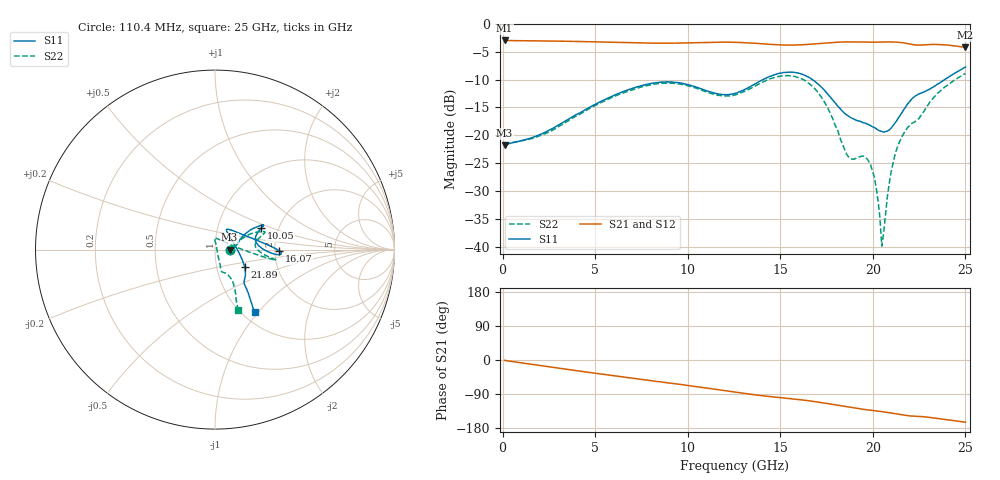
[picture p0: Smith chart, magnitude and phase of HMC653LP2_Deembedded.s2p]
! Hittite Microwave Corporation
! 2 Elizabeth Drive
! Chelmsford, MA 01824
! http://www.hittite.com
! Tel: 978-250-3343
! Fax: 978-250-3373
! Device:  HMC653LP2
! Description: 3 dB Wideband Fixed Attenuator
! Frequency:  DC - 25.00 GHz
! Package:  LP2  - 2x2 mm Dual Flatpack No-Lead (QFN) Plastic Package:  6 pin
! Ports:  2
!  Pin 1 = Ground
!  Pin 2 = RF1  = Port 1
!  Pin 3 = Ground
!  Pin 4 = Ground
!  Pin 5 = RF2  = Port 2
!  Pin 6 = Ground
! Data:  The device was measured on evaluation board 119194-1.
!  Data was collected using an calibrated network analyzer.
!  The evaluation circuit board was modeled and simulated.  This was use
!  to removed the evaluation board circuit from the measured data.
!  The reference plane is the center (edge) of the package pin.
! Misc:
! Date Measured:  2012-04-18
! Date:  2012-04-21 MJV
! Note:
!  Hittite supplies this data as a sample of measured data at the package pin for
!  for this package product.  Your particular data for this product may vary.
!  Data was taken at 25 degrees C.
!  Hittite reserves the right to change this data at anytime.
# GHz S DB R 50
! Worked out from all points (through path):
!   249 points, 110.4 MHz to 25 GHz, reference 50 ohm
!   highest |S21| = -2.95 dB at 110.4 MHz (marker M1); lowest = -4.2 dB at 25 GHz (marker M2)
!   group delay of S21, straight-line fit = 18.1 ps
!   lowest |S11| = -21.8 dB at 110.4 MHz (marker M3), VSWR 1.18, Z = 58.8 - j0.00151 ohm
!   |S11| at or under -10 dB: start of sweep to 14.06 GHz; 16.74 GHz to 23.87 GHz (7.131 GHz wide, 35.1 % of centre)
!   |S22| runs from -39.9 to -8.9 dB; largest |S21 - S12| = 0.0011
!   S11 on the Smith chart (normalised r, x): 110.4 MHz: 1.18, -0.00; 10.05 GHz: 1.63, +0.43; 16.07 GHz: 2.12, -0.04; 21.89 GHz: 1.37, -0.28; 25 GHz: 1.14, -0.95
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0.11036  -21.80 -0.0  -2.95 -1.0  -2.96 -1.0  -21.72 -0.2
2.41867  -19.27 6.6  -3.05 -17.3  -3.05 -17.3  -19.55 5.0
4.32554  -15.68 24.5  -3.16 -30.4  -3.16 -30.4  -15.90 21.6
8.44036  -10.47 27.4  -3.45 -57.2  -3.45 -57.2  -10.71 20.3
10.04614  -10.91 24.9  -3.39 -67.4  -3.39 -67.4  -11.14 17.4
12.55518  -12.46 7.2  -3.29 -84.9  -3.29 -84.9  -12.74 1.7
14.86349  -8.92 -4.5  -3.73 -98.7  -3.73 -98.7  -9.46 -9.5
16.06783  -8.91 -1.2  -3.75 -104.8  -3.75 -104.8  -9.73 -9.6
16.77036  -10.06 3.2  -3.60 -109.1  -3.60 -109.1  -11.29 -8.4
17.57325  -12.59 13.3  -3.37 -115.2  -3.38 -115.2  -15.14 -2.3
18.67723  -16.53 43.4  -3.21 -124.2  -3.22 -124.3  -23.85 46.6
19.48012  -17.75 60.1  -3.23 -130.1  -3.23 -130.1  -23.74 91.3
19.88157  -18.28 57.6  -3.26 -132.6  -3.26 -132.7  -25.34 91.0
20.08229  -18.60 53.3  -3.26 -133.7  -3.27 -133.8  -27.54 86.7
20.28301  -19.07 46.0  -3.25 -134.9  -3.26 -135.0  -31.74 74.5
20.38337  -19.21 41.5  -3.25 -135.6  -3.25 -135.6  -34.86 58.0
20.48373  -19.31 37.1  -3.24 -136.2  -3.24 -136.3  -39.93 28.0
20.88518  -19.04 13.7  -3.21 -139.1  -3.21 -139.2  -28.69 -64.4
21.28663  -17.40 -7.8  -3.26 -142.4  -3.26 -142.4  -22.54 -70.4
21.8888  -14.33 -30.4  -3.52 -146.9  -3.52 -146.9  -18.54 -73.5
23.49458  -10.81 -51.6  -3.68 -154.3  -3.68 -154.4  -12.43 -63.0
25  -7.74 -57.4  -4.21 -164.1  -4.21 -164.1  -8.90 -68.8
